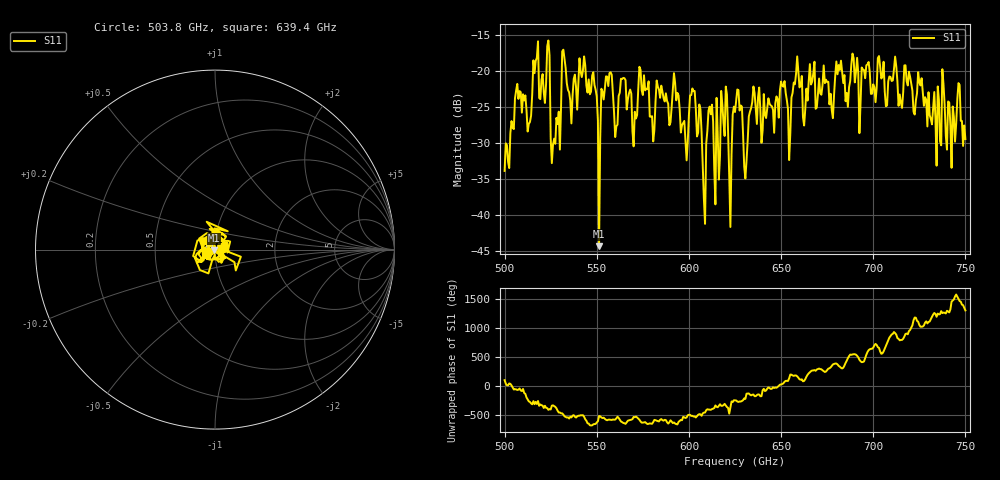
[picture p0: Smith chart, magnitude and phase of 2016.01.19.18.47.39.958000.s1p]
!Created with skrf (http://scikit-rf.org).
# GHz S RI R 50.0
!freq ReS11 ImS11
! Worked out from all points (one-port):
!   401 points, 500 GHz to 750 GHz, reference 50 ohm
!   lowest |S11| = -44.3 dB at 551.2 GHz (marker M1), VSWR 1.01, Z = 49.5 - j0.299 ohm
!   |S11| at or under -10 dB: start of sweep to end of sweep
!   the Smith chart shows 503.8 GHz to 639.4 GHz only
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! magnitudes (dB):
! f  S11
! 500 GHz  -33.9
! 506.9 GHz  -21.7
! 513.8 GHz  -27.1
! 516.9 GHz  -18.5
! 523.1 GHz  -16.5
! 526.2 GHz  -30.2
! 531.2 GHz  -17.2
! 548.8 GHz  -21.9
! 551.2 GHz  -44.3
! 556.2 GHz  -22.0
! 560 GHz  -29.1
! 562.5 GHz  -23.0
! 570.6 GHz  -25.6
! 593.8 GHz  -23.0
! 598.1 GHz  -29.5
! 602.5 GHz  -22.8
! 608.1 GHz  -37.8
! 611.2 GHz  -24.9
! 615 GHz  -23.7
! 619.4 GHz  -29.0
! 622.5 GHz  -41.7
! 625 GHz  -25.7
! 630.6 GHz  -34.9
! 634.4 GHz  -24.3
! 656.2 GHz  -23.0
! 687.5 GHz  -21.3
! 718.8 GHz  -22.0
! 750 GHz  -29.4
